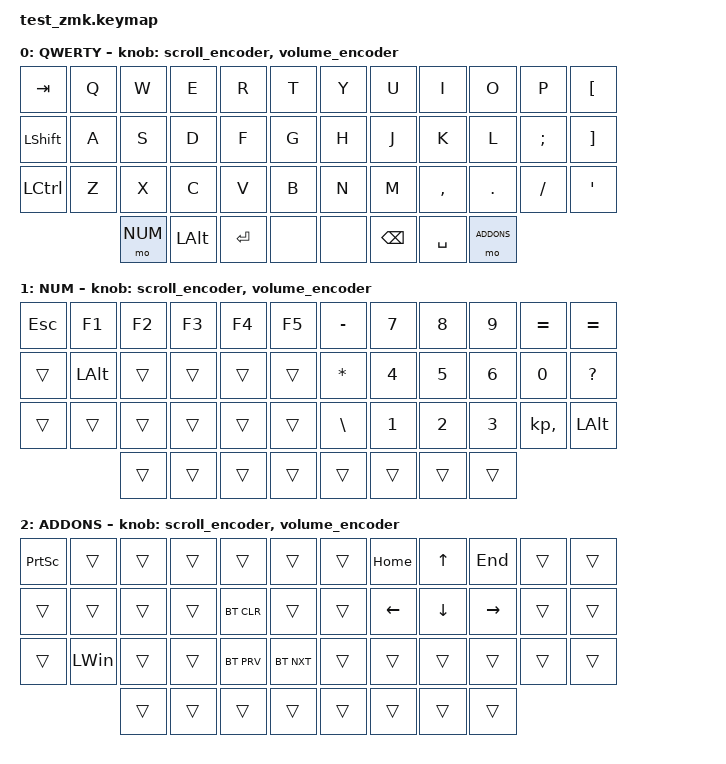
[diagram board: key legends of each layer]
#include <behaviors.dtsi>
#include <dt-bindings/zmk/keys.h>
#include <dt-bindings/zmk/mouse.h>
#include <behaviors/mouse_keys.dtsi>
#include <dt-bindings/zmk/bt.h>
#include <dt-bindings/zmk/outputs.h>
#include <dt-bindings/zmk/ext_power.h>

#define ZMK_MOUSE_DEFAULT_SCRL_VAL 50 // 10

#define QWERTY 0
#define NUM 1
#define ADDONS 2

/*
 * КОДЫ КЛАВИШ: https://zmk.dev/docs/codes 
 * ДОКУМЕНТАЦИЯ ПО НАСТРОЙКЕ ПОВЕДЕНИЯ КЛВИШ: https://zmk.dev/docs/behaviors
 * ДОКУМЕНТАЦИЯ ПО ЭМУЛЯЦИИ МЫШИ: https://zmk.dev/docs/behaviors/mouse-emulation
 * НАСТРОЙКА ПОВЕДЕНИЯ СЛОЕВ: https://zmk.dev/docs/keymaps/behaviors/layers
 */


&msc {
    acceleration-exponent = <0>;      // 0
    time-to-max-speed-ms = <0>;       // 300
    delay-ms = <0>;                   // 0
};
/ {
    behaviors {
        page_encoder: page_encoder {
            compatible = "zmk,behavior-sensor-rotate";
            #sensor-binding-cells = <0>;
            bindings = <&kp PG_UP>, <&kp PG_DN>;
        };
        volume_encoder: volume_encoder {
            compatible = "zmk,behavior-sensor-rotate";
            #sensor-binding-cells = <0>;
            bindings = <&kp C_VOL_DN>, <&kp C_VOL_UP>;
        };
        scroll_encoder: scroll_encoder {
            compatible = "zmk,behavior-sensor-rotate";
            #sensor-binding-cells = <0>;
            bindings = <&msc SCRL_UP>, <&msc SCRL_DOWN>;
            tap-ms = <50>;
        };
        // alt_tab_scroll: alt_tab_scroll {

        // }
    };


    // ДОКУМЕНТАЦИЯ ПО ПОВЕДЕНИЮ КНОПОК: https://zmk.dev/docs/behaviors
    keymap {
        compatible = "zmk,keymap";

        QWERTY {
            display-name = "QWERTY";
/* QWERTY
 *
 * .-----------------------------------------------.               .-----------------------------------------------.
 * |  TAB  |   Q   |   W   |   E   |   R   |   T   |               |   Y   |   U   |   I   |   O   |   P   |   {   |
 * |-------+-------+-------+-------+-------+-------|               |-------+-------+-------+-------+-------+-------|
 * | LSHIFT|   A   |   S   |   D   |   F   |   G   |               |   H   |   J   |   K   |   L   |   ;   |   }   |
 * |-------+-------+-------+-------+-------+-------|               |-------+-------+-------+-------+-------+-------|
 * | LCTRL |   Z   |   X   |   C   |   V   |   B   |               |   N   |   M   |   ,   |   .   |   /   |   "   |
 * "---------------+-------+-------+-------+-------|               |-------+-------+-------+-------+-------+-------"
 *                 |  NUM  | LALT  | ENTER |   ?   |<---Encoder--->|   ?   | BSPC  | SPACE |ADDONS |
 *                 "-------------------------------"               "-------------------------------"
 *
 */
            bindings = <
    &kp TAB      &kp Q        &kp W        &kp E        &kp R        &kp T              &kp Y        &kp U        &kp I        &kp O        &kp P        &kp LBKT
    &kp LSHIFT   &kp A        &kp S        &kp D        &kp F        &kp G              &kp H        &kp J        &kp K        &kp L        &kp SEMI     &kp RBKT
    &kp LCTRL    &kp Z        &kp X        &kp C        &kp V        &kp B              &kp N        &kp M        &kp COMMA    &kp DOT      &kp FSLH     &kp SQT
                              &mo NUM      &kp LALT     &kp ENTER    &none              &none        &kp BSPC     &kp SPACE    &mo ADDONS
            >;
            
            // ТУТ УКАЗЫВАЕТСЯ НАЗНАЧЕНИЕ ЭНКОДЕРА В СЛОЕ
            sensor-bindings = 
            <&scroll_encoder>, 
            <&volume_encoder>;
        };

        NUM {
            display-name = "NUM";
/* NUM
 *
 * .-----------------------------------------------.               .-----------------------------------------------.
 * |  ESC  |   Q   |   W   |   E   |   R   |   T   |               |   -   |   7   |   8   |   9   |   +   |   =   |
 * |-------+-------+-------+-------+-------+-------|               |-------+-------+-------+-------+-------+-------|
 * | LSHIFT|   A   |   S   |   D   |   F   |   G   |               |   *   |   4   |   5   |   6   |   0   |   ?   |
 * |-------+-------+-------+-------+-------+-------|               |-------+-------+-------+-------+-------+-------|
 * |  CTRL |   Z   |   X   |   C   |   V   |   B   |               |   /   |   1   |   2   |   3   |   ,   | LALT  |
 * "---------------+-------+-------+-------+-------|               |-------+-------+-------+-------+-------+-------"
 *                 |  NUM  | CTRL  | ENTER |   ?   |<---Encoder--->|   ?   | BSPC  | SPACE |ADDONS |
 *                 "-------------------------------"               "-------------------------------"
 *
 */
            bindings = <
    &kp ESC        &kp F1        &kp F2       &kp F3       &kp F4       &kp F5             &kp MINUS    &kp N7       &kp N8       &kp N9    &kp EQUAL     &kp EQUAL
    &trans         &kp LALT      &trans       &trans       &trans       &trans             &kp STAR     &kp N4       &kp N5       &kp N6    &kp N0       &kp QMARK
    &trans         &trans        &trans       &trans       &trans       &trans             &kp BSLH     &kp N1       &kp N2       &kp N3    &kp KP_COMMA &kp LALT
                                 &trans       &trans       &trans       &trans             &trans       &trans       &trans       &trans
            >;
            
            // ТУТ УКАЗЫВАЕТСЯ НАЗНАЧЕНИЕ ЭНКОДЕРА В СЛОЕ
            sensor-bindings = 
            <&scroll_encoder>, 
            <&volume_encoder>;
        };

        ADDONS {
            display-name = "ADDONS";
/* ADDONS
 *
 * .-----------------------------------------------.               .-----------------------------------------------.
 * | PSCRN |   Q   |   W   |   E   |   R   |   T   |               |   -   |   7   |  UP   |   9   |   +   |   =   |
 * |-------+-------+-------+-------+-------+-------|               |-------+-------+-------+-------+-------+-------|
 * | LSHIFT|   A   |   S   |   D   | BT_CLR|BT_DISC|               |   *   |   4   |   5   |   6   |   0   |   ?   |
 * |-------+-------+-------+-------+-------+-------|               |-------+-------+-------+-------+-------+-------|
 * |  CTRL |   Z   |   X   |   C   |BT_PRV |BT_NXT |               |   /   |   1   |   2   |   3   |   ,   |   "   |
 * "---------------+-------+-------+-------+-------|               |-------+-------+-------+-------+-------+-------"
 *                 |  NUM  | CTRL  | ENTER |       |<---Encoder--->|       | BSPC  | SPACE |ADDONS |
 *                 "-------------------------------"               "-------------------------------"
 *
 */
            bindings = <
    &kp PSCRN      &trans         &trans         &trans         &trans         &trans             &trans         &kp HOME     &kp UP         &kp END        &trans         &trans
    &trans         &trans         &trans         &trans         &bt BT_CLR     &trans             &trans         &kp LEFT     &kp DOWN       &kp RIGHT      &trans         &trans
    &trans         &kp LWIN       &trans         &trans         &bt BT_PRV     &bt BT_NXT         &trans         &trans       &trans         &trans         &trans         &trans
                                  &trans         &trans         &trans         &trans             &trans         &trans       &trans         &trans
            >;
            
            // ТУТ УКАЗЫВАЕТСЯ НАЗНАЧЕНИЕ ЭНКОДЕРА В СЛОЕ
            sensor-bindings = 
            <&scroll_encoder>, 
            <&volume_encoder>;
        };
    };
};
